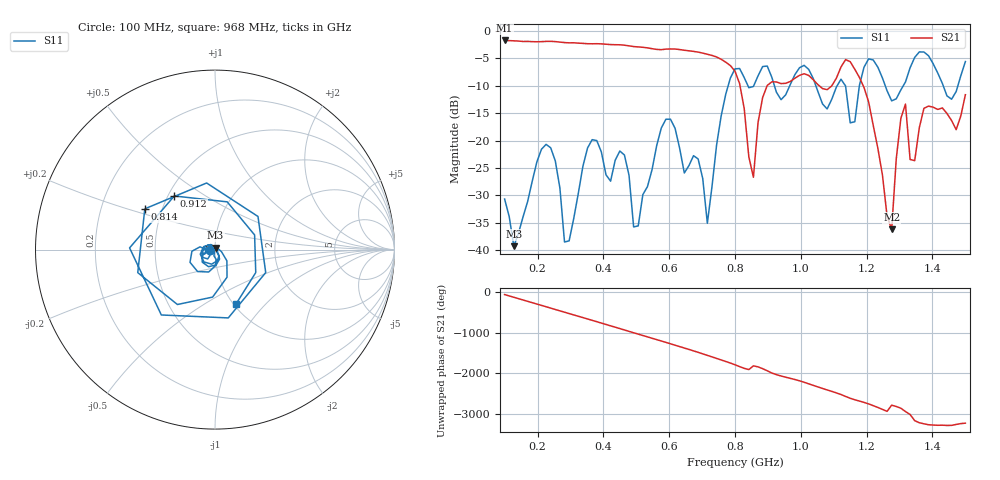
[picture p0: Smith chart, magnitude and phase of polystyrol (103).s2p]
! NanoVNA-App
! Date: 2025-09-26 09:42:41
! Start: 100MHz Stop: 1,5GHz Points: 101
! S-Parameter data: F S11 S21 S12 S22
# Hz S RI R 50
!  Frequency  S11_Real  S11_Imag  S21_Real  S21_Imag  S12_Real  S12_Imag  S22_Real  S22_Imag
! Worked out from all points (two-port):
!   101 points, 100 MHz to 1.5 GHz, reference 50 ohm
!   highest |S21| = -1.79 dB at 100 MHz (marker M1); lowest = -36.2 dB at 1.276 GHz (marker M2)
!   |S21| within 3 dB of the highest: start of sweep to 743.6 MHz
!   lowest |S11| = -39.2 dB at 128 MHz (marker M3), VSWR 1.02, Z = 50.3 + j1.06 ohm
!   |S11| at or under -10 dB: start of sweep to 779.4 MHz; 1.045 GHz to 1.111 GHz (65.28 MHz wide, 6.06 % of centre); 1.256 GHz to 1.312 GHz (55.28 MHz wide, 4.31 % of centre) (the widest 3 of 7)
!   S12 and S22 are empty: the file has one direction only
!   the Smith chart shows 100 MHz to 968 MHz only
!   S11 on the Smith chart (normalised r, x): 100 MHz: 0.94, -0.01; 814 MHz: 0.40, +0.23; 912 MHz: 0.54, +0.37; 968 MHz: 1.03, -0.69
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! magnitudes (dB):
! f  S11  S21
! 100 MHz  -30.7  -1.8
! 128 MHz  -39.2  -1.9
! 212 MHz  -21.6  -2.0
! 254 MHz  -23.7  -2.0
! 282 MHz  -38.5  -2.2
! 338 MHz  -24.7  -2.3
! 464 MHz  -22.6  -2.6
! 506 MHz  -35.5  -3.0
! 576 MHz  -17.7  -3.5
! 688 MHz  -23.4  -3.9
! 716 MHz  -35.1  -4.3
! 800 MHz  -7.0  -7.4
! 814 MHz  -6.9  -9.6
! 856 MHz  -10.2  -26.7
! 912 MHz  -8.5  -9.3
! 968 MHz  -9.8  -9.2
! 1.038 GHz  -8.7  -9.0
! 1.178 GHz  -10.0  -8.5
! 1.276 GHz  -12.8  -36.2
! 1.318 GHz  -9.3  -13.4
! 1.346 GHz  -4.9  -23.7
! 1.5 GHz  -5.6  -11.7
